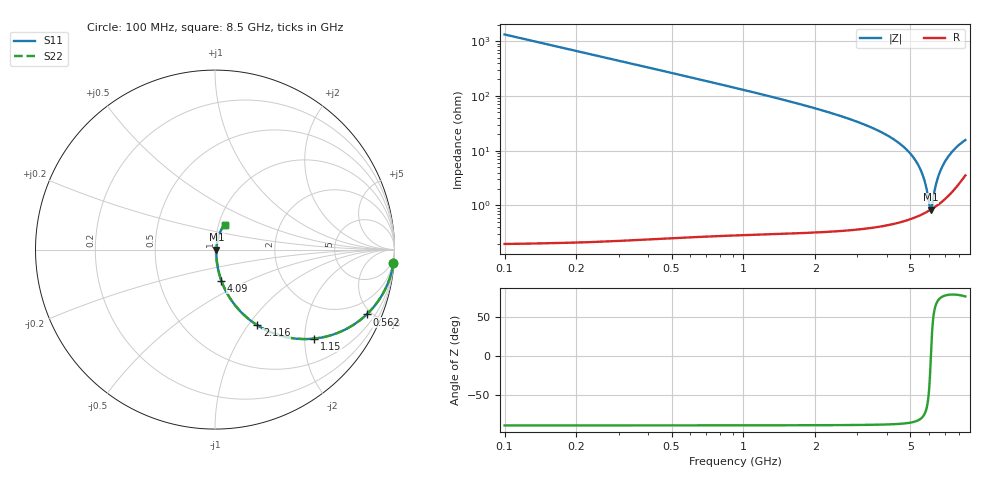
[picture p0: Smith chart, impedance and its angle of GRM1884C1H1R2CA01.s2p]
!Murata Part Number: GRM1884C1H1R2CA01
!These Parameters are Measured in Series Mode Connection
!Data Generated on Mar 30, 2021
!  o--ll--o
!Port1  Port2
!  o------o
!Operation Temp=25[degC], DC Bias Voltage=0[V]
!Freq. Start=100[MHz] Stop=9[GHz] 401[Steps]
# Hz S RI R 50
!Freq.(Hz) S11(Real) S11(Imag) S21(Real) S21(Imag) S12(Real) S12(Imag) S22(Real) S22(Imag)
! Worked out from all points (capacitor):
!   401 points, 100 MHz to 8.5 GHz, reference 50 ohm
!   read as one part in series: C = 1.2 pF near 142 MHz
!   lowest |Z| = 840 mohm at 6.085 GHz (marker M1)
!   series resonance near 6.094 GHz, so ESL is about 570 pH
!   S11 on the Smith chart (normalised r, x): 100 MHz: 1, -27; 562 MHz: 1.01, -4.68; 1.15 GHz: 1.01, -2.23; 2.116 GHz: 1.01, -1.11; 4.09 GHz: 1.01, -0.36; 8.5 GHz: 1.07, +0.31
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1e8  0.9943 -0.075  0.00567 0.075  0.00567 0.075  0.9943 -0.075
2.89e8  0.9544 -0.2084  0.0456 0.2084  0.0456 0.2084  0.9544 -0.2084
5.62e8  0.8453 -0.3611  0.1547 0.3611  0.1547 0.3611  0.8453 -0.3611
1.15e9  0.5531 -0.4959  0.4469 0.4959  0.4469 0.4959  0.5531 -0.4959
1.507e9  0.4067 -0.4894  0.5933 0.4894  0.5933 0.4894  0.4067 -0.4894
2.116e9  0.2354 -0.4213  0.7646 0.4213  0.7646 0.4213  0.2354 -0.4213
2.914e9  0.1133 -0.312  0.8867 0.312  0.8867 0.312  0.1133 -0.312
4.09e9  0.0355 -0.1733  0.9645 0.1733  0.9645 0.1733  0.0355 -0.1733
4.3e9  0.0284 -0.1519  0.9716 0.1519  0.9716 0.1519  0.0284 -0.1519
5.182e9  0.011 -0.0712  0.989 0.0712  0.989 0.0712  0.011 -0.0712
5.476e9  0.00877 -0.0471  0.9912 0.0471  0.9912 0.0471  0.00877 -0.0471
5.707e9  0.00796 -0.0289  0.992 0.0289  0.992 0.0289  0.00796 -0.0289
5.854e9  0.00786 -0.0177  0.9921 0.0177  0.9921 0.0177  0.00786 -0.0177
6.022e9  0.00811 -0.00525  0.9919 0.00525  0.9919 0.00525  0.00811 -0.00525
6.085e9  0.0083 -0.000648  0.9917 0.000648  0.9917 0.000648  0.0083 -0.000648
6.148e9  0.00855 0.00391  0.9915 -0.00391  0.9915 -0.00391  0.00855 0.00391
6.337e9  0.00959 0.0173  0.9904 -0.0173  0.9904 -0.0173  0.00959 0.0173
6.526e9  0.0111 0.0303  0.9889 -0.0303  0.9889 -0.0303  0.0111 0.0303
6.778e9  0.0138 0.0471  0.9862 -0.0471  0.9862 -0.0471  0.0138 0.0471
7.114e9  0.0187 0.0685  0.9813 -0.0685  0.9813 -0.0685  0.0187 0.0685
7.744e9  0.0319 0.1049  0.9681 -0.1049  0.9681 -0.1049  0.0319 0.1049
8.5e9  0.0548 0.1394  0.9452 -0.1394  0.9452 -0.1394  0.0548 0.1394
